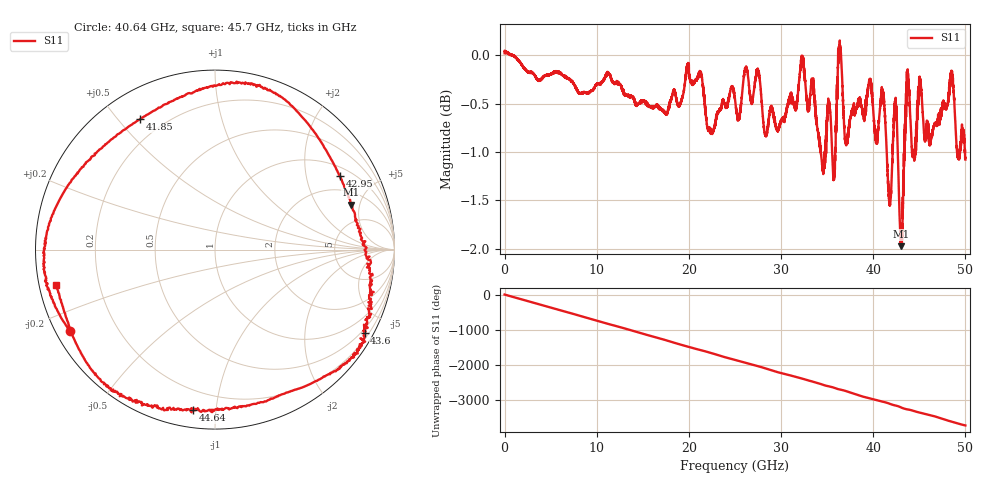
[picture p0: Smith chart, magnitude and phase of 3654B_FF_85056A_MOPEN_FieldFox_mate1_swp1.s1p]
!Created with skrf (http://scikit-rf.org).
# Hz S RI R 50.0
!freq ReS11 ImS11
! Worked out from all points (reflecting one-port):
!   10001 points, 300 kHz to 50 GHz, reference 50 ohm
!   lowest |S11| = -2.0 dB at 43.05 GHz (marker M1), VSWR 8.84, Z = 149 + j205 ohm
!   phase of S11 starts at 0 deg and turns -3733 deg over the sweep
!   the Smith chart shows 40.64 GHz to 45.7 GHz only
!   S11 on the Smith chart (normalised r, x): 40.64 GHz: 0.04, -0.26; 41.85 GHz: 0.12, +0.57; 42.95 GHz: 1.34, +3.14; 43.6 GHz: 0.36, -3.80; 44.64 GHz: 0.09, -0.87; 45.7 GHz: 0.05, -0.11
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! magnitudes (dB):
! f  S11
! 300 kHz  0.0
! 6.25 GHz  -0.2
! 12.5 GHz  -0.3
! 18.75 GHz  -0.5
! 25 GHz  -0.5
! 31.25 GHz  -0.5
! 32.33 GHz  0.0
! 34.48 GHz  -1.1
! 35.19 GHz  -0.5
! 35.7 GHz  -1.3
! 36.39 GHz  0.0
! 36.99 GHz  -0.9
! 37.5 GHz  -0.6
! 39.62 GHz  -0.3
! 40.64 GHz  -0.6
! 41.1 GHz  -0.4
! 41.85 GHz  -1.5
! 42.42 GHz  -0.5
! 42.95 GHz  -1.9
! 43.05 GHz  -2.0
! 43.6 GHz  -0.4
! 43.75 GHz  -0.2
! 44.64 GHz  -0.9
! 45.06 GHz  -0.2
! 45.7 GHz  -0.8
! 48.49 GHz  -0.2
! 49.19 GHz  -1.0
! 50 GHz  -1.1
